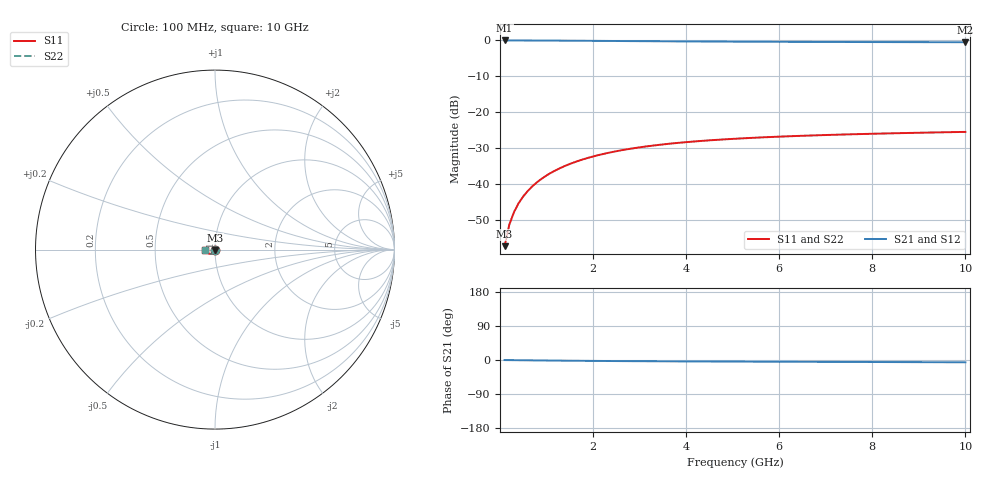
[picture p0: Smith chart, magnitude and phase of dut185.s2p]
! Touchstone file exported from HFSS 2024.1.0
!  File:  C:/UserFiles/LocalFiles/RDL_TSV_Batchsim/temp_TSV1_185_1779384510.aedt
!  Generated:  01:32:47 AM May 22, 2026
!  Design:  TSV1
!  Project:  temp_TSV1_185_1779384510
!  Setup:  Setup1
!  Solution:  Sweep
! Variables:
!  dtsv = 9.09um
!  hbump = 3um
!  htsv = 96.9um
!  lrdl = 252.1521522um
!  p = 40
!  p1 = 45.09um
!  t = 500um
!  trdl = 3um
!  wrdl = 24.89489489um
# GHz S MA R 50.000000
! Terminal data exported
! Port[1] = TSV22_T1
! Port[2] = TSV22_T2
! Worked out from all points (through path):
!   100 points, 100 MHz to 10 GHz, reference 50 ohm
!   highest |S21| = 0.00 dB at 100 MHz (marker M1); lowest = -0.5 dB at 10 GHz (marker M2)
!   lowest |S11| = -57.4 dB at 100 MHz (marker M3), VSWR 1.00, Z = 50 - j0.134 ohm
!   |S11| at or under -10 dB: start of sweep to end of sweep
!   |S22| runs from -57.4 to -25.5 dB; largest |S21 - S12| = 3.7e-15
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0.1  0.001352 -83.1  0.9998 -0.1  0.9998 -0.1  0.001352 -83.1
! Gamma 0 0 0 0
! Port Impedance 50 0 50 0
0.2  0.002685 -88.9  0.9996 -0.3  0.9996 -0.3  0.002685 -88.9
0.3  0.004023 -91.9  0.9994 -0.4  0.9994 -0.4  0.004023 -91.9
0.4  0.005358 -94.2  0.9991 -0.5  0.9991 -0.5  0.005358 -94.2
0.5  0.006685 -96.3  0.9988 -0.7  0.9988 -0.7  0.006685 -96.3
0.6  0.008 -98.2  0.9983 -0.8  0.9983 -0.8  0.008 -98.2
0.7  0.0093 -100.1  0.9978 -0.9  0.9978 -0.9  0.0093 -100.1
0.8  0.01058 -101.9  0.9973 -1.1  0.9973 -1.1  0.01058 -101.9
0.9  0.01185 -103.6  0.9967 -1.2  0.9967 -1.2  0.01185 -103.6
1.1  0.01431 -107.0  0.9953 -1.4  0.9953 -1.4  0.01431 -107.0
1.4  0.01782 -111.8  0.9929 -1.8  0.9929 -1.8  0.01782 -111.8
1.6  0.02002 -114.8  0.9911 -2.0  0.9911 -2.0  0.02002 -114.8
1.8  0.02211 -117.7  0.9893 -2.2  0.9893 -2.2  0.02211 -117.7
2.1  0.02503 -121.9  0.9864 -2.5  0.9864 -2.5  0.02503 -121.9
2.5  0.02852 -127.1  0.9824 -2.8  0.9824 -2.8  0.02852 -127.1
2.9  0.03159 -131.8  0.9786 -3.1  0.9786 -3.1  0.03159 -131.8
3.4  0.03488 -137.2  0.9741 -3.4  0.9741 -3.4  0.03488 -137.2
4.2  0.03912 -144.8  0.9677 -3.8  0.9677 -3.8  0.03912 -144.8
5.1  0.04275 -152.1  0.9618 -4.2  0.9618 -4.2  0.04275 -152.1
6.7  0.0473 -162.5  0.954 -4.8  0.954 -4.8  0.0473 -162.5
8.4  0.05064 -171.3  0.9485 -5.5  0.9485 -5.5  0.05064 -171.3
10  0.05305 -178.3  0.9449 -6.0  0.9449 -6.0  0.05305 -178.3
